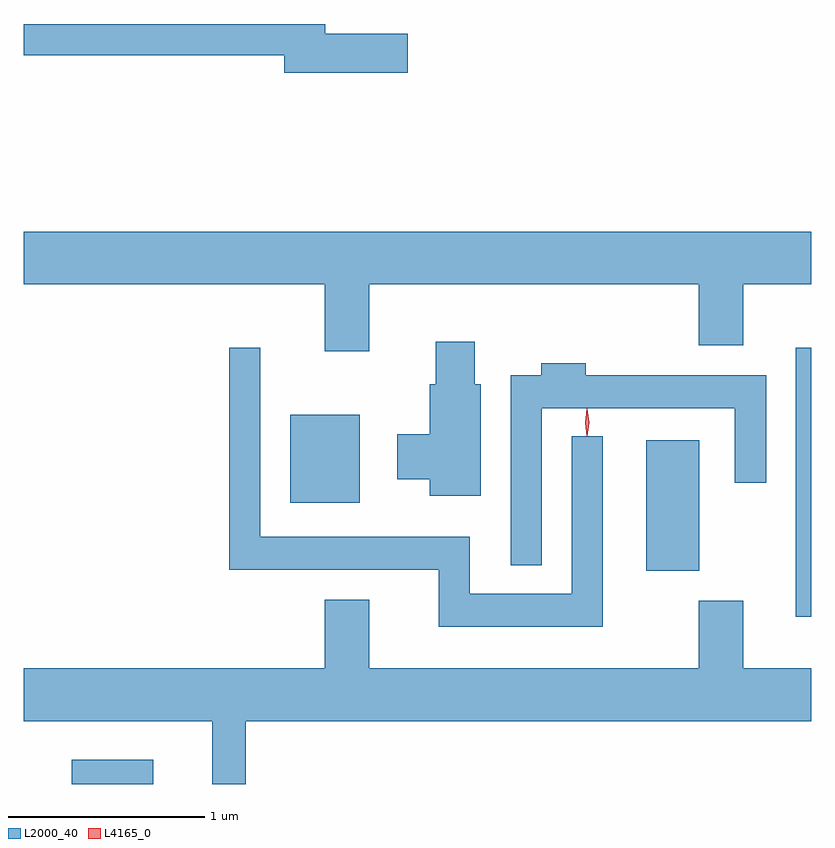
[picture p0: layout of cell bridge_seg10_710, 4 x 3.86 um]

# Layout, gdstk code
import gdstk
lib = gdstk.Library(unit=1e-6, precision=1e-09)
def R(c, l, rs):  # rectangles x0, y0, x1, y1
    for r in rs: c.add(gdstk.rectangle(r[:2], r[2:], *l))
def P(c, l, *ps):  # polygons
    for p in ps: c.add(gdstk.Polygon(p, *l))
L2000_40 = (2000, 40)
L4165_0 = (4165, 0)

bridge_seg10_710 = lib.new_cell('bridge_seg10_710')
R(bridge_seg10_710, L2000_40, [(1049.276,2104.717,1049.689,2104.839), (1052.956,2105.566,1053.033,2106.933), (1052.196,2105.801,1052.464,2106.464), (1050.386,2106.146,1050.739,2106.594)])
P(bridge_seg10_710, L2000_40, [(1050.984,2108.529),(1050.564,2108.529),(1050.564,2108.579),(1049.033,2108.579),(1049.033,2108.421),(1050.356,2108.421),(1050.356,2108.331),(1050.984,2108.331)],
  [(1050.789,2107.256),(1052.461,2107.256),(1052.461,2106.946),(1052.689,2106.946),(1052.689,2107.256),(1053.033,2107.256),(1053.033,2107.524),(1049.033,2107.524),(1049.033,2107.256),(1050.561,2107.256),(1050.561,2106.916),(1050.789,2106.916)],
  [(1051.354,2106.749),(1051.324,2106.749),(1051.324,2106.964),(1051.126,2106.964),(1051.126,2106.749),(1051.096,2106.749),(1051.096,2106.494),(1050.931,2106.494),(1050.931,2106.266),(1051.096,2106.266),(1051.096,2106.181),(1051.354,2106.181)],
  [(1051.974,2106.483),(1051.816,2106.483),(1051.816,2105.684),(1051.299,2105.684),(1051.299,2105.974),(1050.234,2105.974),(1050.234,2106.933),(1050.076,2106.933),(1050.076,2105.806),(1051.141,2105.806),(1051.141,2105.516),(1051.974,2105.516)],
  [(1051.664,2106.626),(1052.646,2106.626),(1052.646,2106.248),(1052.804,2106.248),(1052.804,2106.794),(1051.889,2106.794),(1051.889,2106.854),(1051.661,2106.854),(1051.661,2106.794),(1051.506,2106.794),(1051.506,2105.828),(1051.664,2105.828)],
  [(1050.159,2105.036),(1053.033,2105.036),(1053.033,2105.304),(1052.689,2105.304),(1052.689,2105.649),(1052.461,2105.649),(1052.461,2105.304),(1050.789,2105.304),(1050.789,2105.654),(1050.561,2105.654),(1050.561,2105.304),(1049.033,2105.304),(1049.033,2105.036),(1049.991,2105.036),(1049.991,2104.717),(1050.159,2104.717)])
P(bridge_seg10_710, L4165_0, [(1051.895,2106.487),(1051.895,2106.488),(1051.885,2106.554),(1051.895,2106.62),(1051.895,2106.621),(1051.896,2106.62),(1051.905,2106.554),(1051.896,2106.488)],
  [(1051.894,2106.484),(1051.885,2106.553),(1051.894,2106.623),(1051.895,2106.623),(1051.896,2106.623),(1051.905,2106.553),(1051.896,2106.484),(1051.895,2106.484)])

lib.write_gds('bridge_seg10_710.gds')
